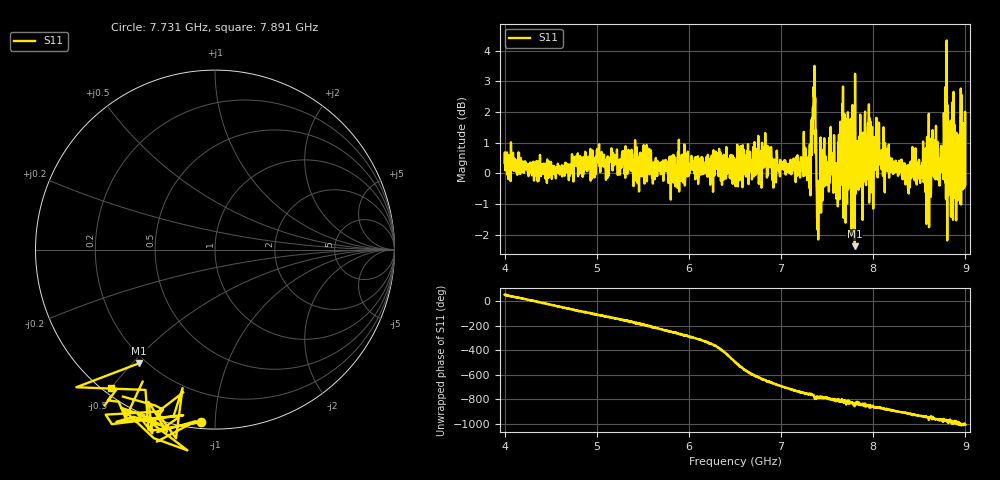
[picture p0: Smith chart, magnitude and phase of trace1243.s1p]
! Created with skrf 1.8.0 (http://scikit-rf.org).
# Hz S RI R 50.0
!freq ReS11 ImS11
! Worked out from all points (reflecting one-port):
!   1601 points, 4 GHz to 9 GHz, reference 50 ohm
!   lowest |S11| = -2.4 dB at 7.8 GHz (marker M1), VSWR 7.36, Z = 8.69 - j26.1 ohm
!   phase of S11 starts at 49 deg and turns -1054 deg over the sweep
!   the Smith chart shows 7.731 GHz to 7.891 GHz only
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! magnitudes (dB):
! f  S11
! 4 GHz  0.3
! 4.625 GHz  -0.1
! 5.25 GHz  0.0
! 5.875 GHz  -0.1
! 6.316 GHz  0.4
! 6.5 GHz  -0.2
! 6.816 GHz  0.2
! 7.125 GHz  0.2
! 7.297 GHz  0.5
! 7.356 GHz  2.5
! 7.409 GHz  -1.0
! 7.481 GHz  -0.4
! 7.609 GHz  -0.2
! 7.669 GHz  1.9
! 7.703 GHz  -0.4
! 7.75 GHz  0.6
! 7.775 GHz  2.2
! 7.8 GHz  -2.4
! 7.928 GHz  0.6
! 8.375 GHz  0.0
! 8.441 GHz  -0.1
! 8.603 GHz  1.9
! 8.656 GHz  1.1
! 8.738 GHz  0.9
! 8.788 GHz  -0.8
! 8.841 GHz  1.7
! 8.972 GHz  0.4
! 9 GHz  -0.4
